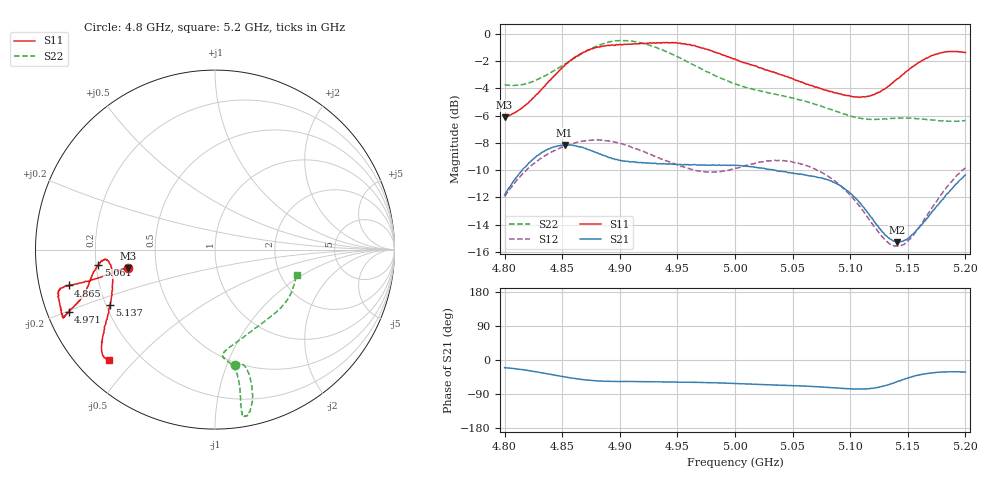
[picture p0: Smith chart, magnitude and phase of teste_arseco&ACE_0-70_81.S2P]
! Network Analyzer HP8722D
! Hewlett-Packard
! Data name: Linha & Wilkinson
! Saver's name: Rodrigo Anjos
! Comments: Teste da utilização de aquisição
! continua pelo VNA HP8722D
! Time and date: 8/5/2025 13:26
!  Frequency  S11  S21  S12  S22
# HZ  S  MA R 50
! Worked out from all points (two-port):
!   401 points, 4.8 GHz to 5.2 GHz, reference 50 ohm
!   highest |S21| = -8.15 dB at 4.852 GHz (marker M1); lowest = -15.3 dB at 5.141 GHz (marker M2)
!   |S21| within 3 dB of the highest: 4.805 GHz to 5.092 GHz (286.5 MHz wide, 5.79 % of centre); 5.190515 GHz to end of sweep
!   lowest |S11| = -6.1 dB at 4.8 GHz (marker M3), VSWR 2.96, Z = 17.1 - j4.62 ohm
!   |S11| at or under -10 dB: nowhere
!   |S22| runs from -6.4 to -0.5 dB; largest |S21 - S12| = 0.62
!   S11 on the Smith chart (normalised r, x): 4.8 GHz: 0.34, -0.09; 4.865 GHz: 0.09, -0.12; 4.971 GHz: 0.06, -0.20; 5.061 GHz: 0.21, -0.06; 5.137 GHz: 0.22, -0.24; 5.2 GHz: 0.09, -0.42
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4.8e9  0.4946 -168.1  0.2569 -20.2  0.2531 -141.4  0.6507 -80.2
4.824e9  0.5779 -167.4  0.3447 -29.5  0.3312 -144.8  0.6671 -75.9
4.852e9  0.7652 -166.1  0.3914 -44.6  0.3871 -150.0  0.7727 -74.7
4.865e9  0.8398 -166.3  0.3848 -50.6  0.4014 -152.2  0.8365 -75.4
4.867e9  0.8484 -166.1  0.384 -51.4  0.4033 -152.5  0.8464 -75.6
4.881e9  0.8937 -165.6  0.365 -55.2  0.4086 -154.9  0.9055 -77.2
4.899e9  0.912 -163.1  0.3439 -56.9  0.3976 -157.0  0.9429 -79.3
4.934e9  0.9254 -156.7  0.3338 -57.7  0.3512 -155.9  0.8807 -80.6
4.951e9  0.9225 -155.8  0.3317 -58.5  0.3297 -152.7  0.8199 -80.1
4.971e9  0.8866 -156.9  0.3301 -59.5  0.313 -146.7  0.743 -79.7
5e9  0.808 -159.4  0.3289 -62.1  0.3209 -137.6  0.6549 -81.4
5.036e9  0.7187 -166.2  0.315 -66.3  0.343 -134.7  0.5993 -85.8
5.061e9  0.6561 -172.3  0.3036 -68.9  0.3295 -136.8  0.5658 -83.9
5.067e9  0.6451 -173.4  0.3002 -69.7  0.3229 -137.3  0.5561 -82.6
5.084e9  0.6139 -174.9  0.2884 -72.9  0.2941 -138.8  0.527 -76.0
5.103e9  0.587 -171.3  0.253 -76.6  0.2476 -139.0  0.4959 -64.9
5.134e9  0.6448 -153.9  0.1774 -64.5  0.1699 -119.8  0.4877 -42.9
5.137e9  0.6615 -152.1  0.1743 -61.4  0.1678 -116.0  0.4902 -41.3
5.141e9  0.6839 -150.1  0.1722 -56.9  0.1665 -110.8  0.49 -38.9
5.153e9  0.7514 -145.1  0.1821 -44.7  0.179 -95.6  0.4901 -32.6
5.171e9  0.8321 -139.5  0.2226 -34.0  0.2297 -81.7  0.4828 -24.7
5.2e9  0.8529 -133.9  0.3034 -31.7  0.3225 -77.3  0.48 -17.5
